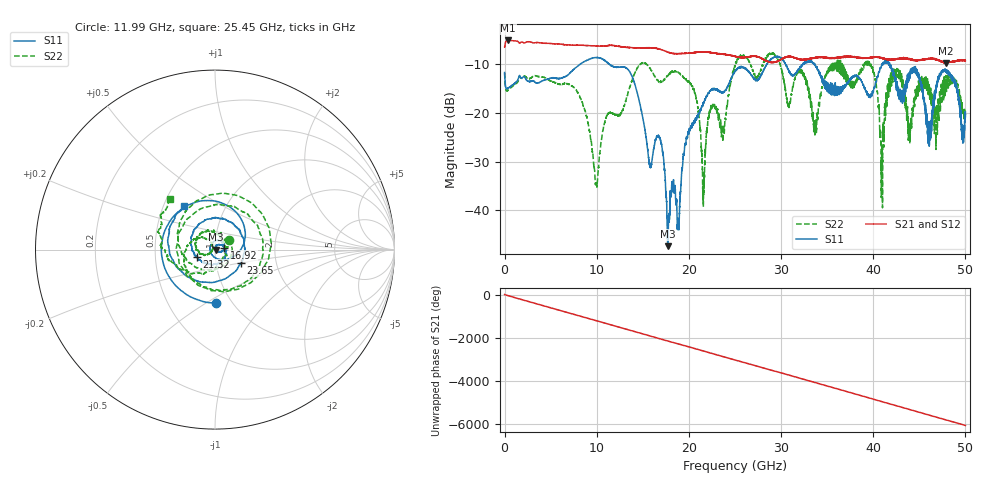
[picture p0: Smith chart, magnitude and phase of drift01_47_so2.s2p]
!Created with skrf (http://scikit-rf.org).
# Hz S RI R 50.0
!freq ReS11 ImS11 ReS21 ImS21 ReS12 ImS12 ReS22 ImS22
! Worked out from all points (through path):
!   10001 points, 300 kHz to 50 GHz, reference 50 ohm
!   highest |S21| = -5.06 dB at 380.3 MHz (marker M1); lowest = -9.7 dB at 47.87 GHz (marker M2)
!   group delay of S21, straight-line fit = 336 ps
!   lowest |S11| = -47.4 dB at 17.69 GHz (marker M3), VSWR 1.01, Z = 50.4 - j0.0997 ohm
!   |S11| at or under -10 dB: start of sweep to 8.154 GHz; 11.42 GHz to 28.44 GHz (17.02 GHz wide, 85.4 % of centre); 41.8 GHz to end of sweep (the widest 3 of 19)
!   |S22| runs from -39.5 to -7.6 dB; largest |S21 - S12| = 0.015
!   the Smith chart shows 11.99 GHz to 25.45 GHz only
!   S11 on the Smith chart (normalised r, x): 11.99 GHz: 0.84, -0.55; 16.92 GHz: 1.11, +0.02; 21.32 GHz: 0.81, -0.07; 23.65 GHz: 1.32, -0.21; 25.45 GHz: 0.64, +0.34
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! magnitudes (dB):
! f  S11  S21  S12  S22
! 300 kHz  -11.7  -6.4  -6.5  -11.7
! 380.3 MHz  -14.9  -5.1  -5.1  -15.2
! 8.335 GHz  -9.8  -6.0  -6.0  -17.5
! 9.935 GHz  -8.6  -6.2  -6.2  -34.3
! 11.99 GHz  -10.6  -6.2  -6.1  -20.3
! 15.79 GHz  -31.1  -6.5  -6.5  -10.8
! 16.67 GHz  -24.6  -6.8  -6.8  -13.4
! 16.92 GHz  -25.6  -6.9  -6.9  -13.5
! 17.69 GHz  -47.4  -7.4  -7.4  -12.3
! 20.41 GHz  -22.1  -7.6  -7.6  -14.7
! 21.32 GHz  -19.2  -7.4  -7.4  -26.1
! 23.65 GHz  -15.8  -7.9  -7.8  -24.1
! 25 GHz  -11.4  -8.3  -8.4  -10.4
! 25.45 GHz  -10.6  -8.5  -8.5  -8.4
! 33.34 GHz  -9.5  -8.8  -8.7  -19.3
! 39.5 GHz  -16.6  -8.7  -8.7  -10.1
! 40.94 GHz  -10.0  -8.6  -8.7  -28.1
! 41.67 GHz  -9.9  -8.9  -9.0  -15.4
! 44.72 GHz  -11.7  -9.2  -9.1  -14.9
! 46.09 GHz  -25.5  -8.9  -8.8  -15.2
! 47.87 GHz  -11.5  -9.7  -9.7  -12.6
! 50 GHz  -20.8  -9.2  -9.2  -20.2
